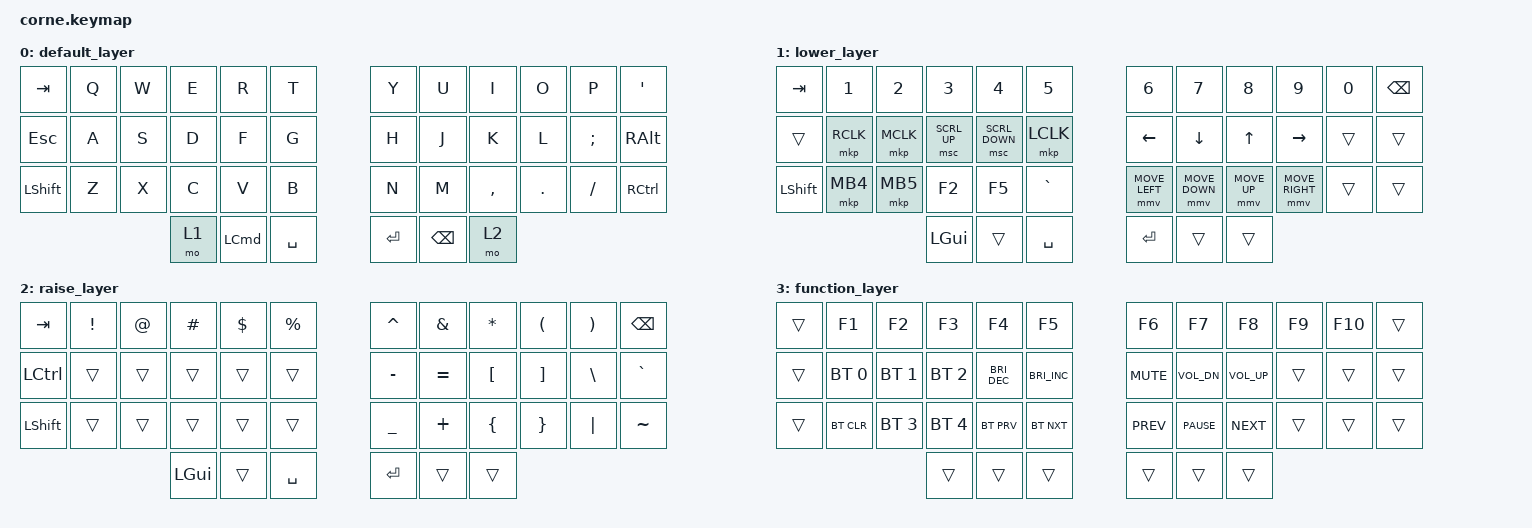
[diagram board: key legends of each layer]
/*
 * Copyright (c) 2020 The ZMK Contributors
 *
 * SPDX-License-Identifier: MIT
 */

#include <behaviors.dtsi>
#include <dt-bindings/zmk/bt.h>
#include <dt-bindings/zmk/keys.h>
#include <dt-bindings/zmk/pointing.h>

/ {
    keymap {
        compatible = "zmk,keymap";

        default_layer {
            // -----------------------------------------------------------------------------------------
            // |  TAB |  Q  |  W  |  E  |  R  |  T  |   |  Y  |  U   |  I  |  O  |  P  | BKSP |
            // | CTRL |  A  |  S  |  D  |  F  |  G  |   |  H  |  J   |  K  |  L  |  ;  |  '   |
            // | SHFT |  Z  |  X  |  C  |  V  |  B  |   |  N  |  M   |  ,  |  .  |  /  | ESC  |
            //                    | GUI | LWR | SPC |   | ENT | RSE  | ALT |

            bindings = <
&kp TAB     &kp Q  &kp W  &kp E  &kp R             &kp T        &kp Y    &kp U          &kp I      &kp O    &kp P     &kp SQT
&kp ESCAPE  &kp A  &kp S  &kp D  &kp F             &kp G        &kp H    &kp J          &kp K      &kp L    &kp SEMI  &kp RIGHT_ALT
&kp LSHFT   &kp Z  &kp X  &kp C  &kp V             &kp B        &kp N    &kp M          &kp COMMA  &kp DOT  &kp FSLH  &kp RCTRL
                          &mo 1  &kp LEFT_COMMAND  &kp SPACE    &kp RET  &kp BACKSPACE  &mo 2
            >;
        };

        lower_layer {
            // -----------------------------------------------------------------------------------------
            // |  TAB |  1  |  2  |  3  |  4  |  5  |   |  6  |  7  |  8  |  9  |  0  | BKSP |
            // | BTCLR| BT1 | BT2 | BT3 | BT4 | BT5 |   | LFT | DWN |  UP | RGT |     |      |
            // | SHFT |     |     |     |     |     |   |     |     |     |     |     |      |
            //                    | GUI |     | SPC |   | ENT |     | ALT |

            bindings = <
&kp TAB    &kp N1     &kp N2     &kp N3        &kp N4          &kp N5       &kp N6          &kp N7          &kp N8        &kp N9           &kp N0  &kp BSPC
&trans     &mkp RCLK  &mkp MCLK  &msc SCRL_UP  &msc SCRL_DOWN  &mkp LCLK    &kp LEFT        &kp DOWN        &kp UP        &kp RIGHT        &trans  &trans
&kp LSHFT  &mkp MB4   &mkp MB5   &kp F2        &kp F5          &kp GRAVE    &mmv MOVE_LEFT  &mmv MOVE_DOWN  &mmv MOVE_UP  &mmv MOVE_RIGHT  &trans  &trans
                                 &kp LGUI      &trans          &kp SPACE    &kp RET         &trans          &trans
            >;
        };

        raise_layer {
            // -----------------------------------------------------------------------------------------
            // |  TAB |  !  |  @  |  #  |  $  |  %  |   |  ^  |  &  |  *  |  (  |  )  | BKSP |
            // | CTRL |     |     |     |     |     |   |  -  |  =  |  [  |  ]  |  \  |  `   |
            // | SHFT |     |     |     |     |     |   |  _  |  +  |  {  |  }  | "|" |  ~   |
            //                    | GUI |     | SPC |   | ENT |     | ALT |

            bindings = <
&kp TAB    &kp EXCL  &kp AT  &kp HASH  &kp DLLR  &kp PRCNT    &kp CARET  &kp AMPS   &kp ASTRK  &kp LPAR  &kp RPAR  &kp BSPC
&kp LCTRL  &trans    &trans  &trans    &trans    &trans       &kp MINUS  &kp EQUAL  &kp LBKT   &kp RBKT  &kp BSLH  &kp GRAVE
&kp LSHFT  &trans    &trans  &trans    &trans    &trans       &kp UNDER  &kp PLUS   &kp LBRC   &kp RBRC  &kp PIPE  &kp TILDE
                             &kp LGUI  &trans    &kp SPACE    &kp RET    &trans     &trans
            >;
        };

        function_layer {
            bindings = <
&trans  &kp F1        &kp F2        &kp F3        &kp F4         &kp F5           &kp F6      &kp F7        &kp F8        &kp F9  &kp F10  &trans
&trans  &bt BT_SEL 0  &bt BT_SEL 1  &bt BT_SEL 2  &kp C_BRI_DEC  &kp C_BRI_INC    &kp K_MUTE  &kp C_VOL_DN  &kp C_VOL_UP  &trans  &trans   &trans
&trans  &bt BT_CLR    &bt BT_SEL 3  &bt BT_SEL 4  &bt BT_PRV     &bt BT_NXT       &kp C_PREV  &kp C_PAUSE   &kp C_NEXT    &trans  &trans   &trans
                                    &trans        &trans         &trans           &trans      &trans        &trans
            >;
        };
    };

    conditional_layers {
        compatible = "zmk,conditional-layers";

        function_activate {
            if-layers = <1 2>;
            then-layer = <3>;
        };
    };
};
